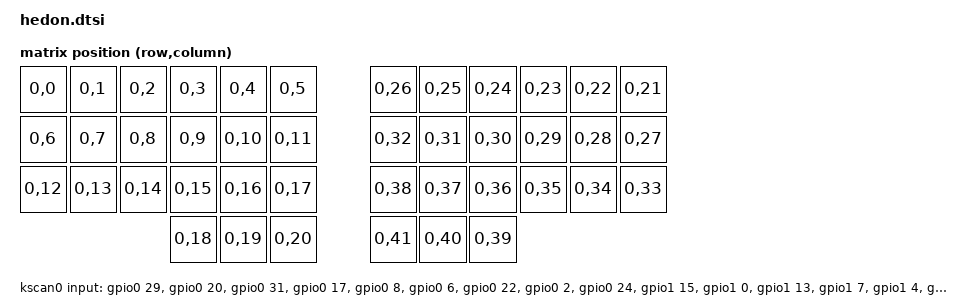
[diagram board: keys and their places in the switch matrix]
/*
 * Copyright (c) 2022 The ZMK Contributors
 *
 * SPDX-License-Identifier: MIT
 */

#include <dt-bindings/zmk/matrix_transform.h>

/ {

	chosen {
		zmk,kscan = &kscan0;
		zmk,matrix_transform = &default_transform;
	};

	default_transform: keymap_transform_0 {
		compatible = "zmk,matrix-transform";
		columns = <42>;
		rows = <1>;
		map = <
			RC(0,0)  RC(0,1)  RC(0,2)  RC(0,3)  RC(0,4)  RC(0,5)                   RC(0,26) RC(0,25) RC(0,24) RC(0,23) RC(0,22) RC(0,21)
			RC(0,6)  RC(0,7)  RC(0,8)  RC(0,9)  RC(0,10) RC(0,11)                  RC(0,32) RC(0,31) RC(0,30) RC(0,29) RC(0,28) RC(0,27)
			RC(0,12) RC(0,13) RC(0,14) RC(0,15) RC(0,16) RC(0,17)                  RC(0,38) RC(0,37) RC(0,36) RC(0,35) RC(0,34) RC(0,33)
			                                 RC(0,18)   RC(0,19) RC(0,20) RC(0,41) RC(0,40)   RC(0,39)
		>;
	};

	kscan0: kscan {
		compatible = "zmk,kscan-gpio-direct";
		label = "KSCAN";
		input-gpios =
			// 029 = P0.29
		    <&gpio0 29 (GPIO_ACTIVE_LOW | GPIO_PULL_UP)>,
			// 020 = P0.20
		    <&gpio0 20 (GPIO_ACTIVE_LOW | GPIO_PULL_UP)>,
			// 031 = P0.31
		    <&gpio0 31 (GPIO_ACTIVE_LOW | GPIO_PULL_UP)>,
			// 017 = P0.17
		    <&gpio0 17 (GPIO_ACTIVE_LOW | GPIO_PULL_UP)>,
			// 008 = P0.08
		    <&gpio0 8 (GPIO_ACTIVE_LOW | GPIO_PULL_UP)>,
			// 006 = P0.06
		    <&gpio0 6 (GPIO_ACTIVE_LOW | GPIO_PULL_UP)>,
			// 022 = P0.22
		    <&gpio0 22 (GPIO_ACTIVE_LOW | GPIO_PULL_UP)>,
			// 002 = P0.02
		    <&gpio0 2 (GPIO_ACTIVE_LOW | GPIO_PULL_UP)>,
			// 024 = P0.24
		    <&gpio0 24 (GPIO_ACTIVE_LOW | GPIO_PULL_UP)>,
			// 115 = P1.15
		    <&gpio1 15 (GPIO_ACTIVE_LOW | GPIO_PULL_UP)>,
			// 100 = P1.00
		    <&gpio1 0 (GPIO_ACTIVE_LOW | GPIO_PULL_UP)>,
			// 113 = P1.13
		    <&gpio1 13 (GPIO_ACTIVE_LOW | GPIO_PULL_UP)>,
			// 107 = P1.07
		    <&gpio1 7 (GPIO_ACTIVE_LOW | GPIO_PULL_UP)>,
			// 104 = P1.04
		    <&gpio1 4 (GPIO_ACTIVE_LOW | GPIO_PULL_UP)>,
			// 109 = P1.09
		    <&gpio1 9 (GPIO_ACTIVE_LOW | GPIO_PULL_UP)>,
			// 117 = P1.17
		    <&gpio1 17 (GPIO_ACTIVE_LOW | GPIO_PULL_UP)>,
			// 111 = P1.11
		    <&gpio1 11 (GPIO_ACTIVE_LOW | GPIO_PULL_UP)>,
			// 011 = P0.11
		    <&gpio0 11 (GPIO_ACTIVE_LOW | GPIO_PULL_UP)>,
			// 101 = P1.01
		    <&gpio1 1 (GPIO_ACTIVE_LOW | GPIO_PULL_UP)>,
			// 104 = P1.04
			<&gpio1  4 (GPIO_ACTIVE_LOW | GPIO_PULL_UP)>,
			// 106 = P1.06
			<&gpio1  6 (GPIO_ACTIVE_LOW | GPIO_PULL_UP)>
		;
	};

};
